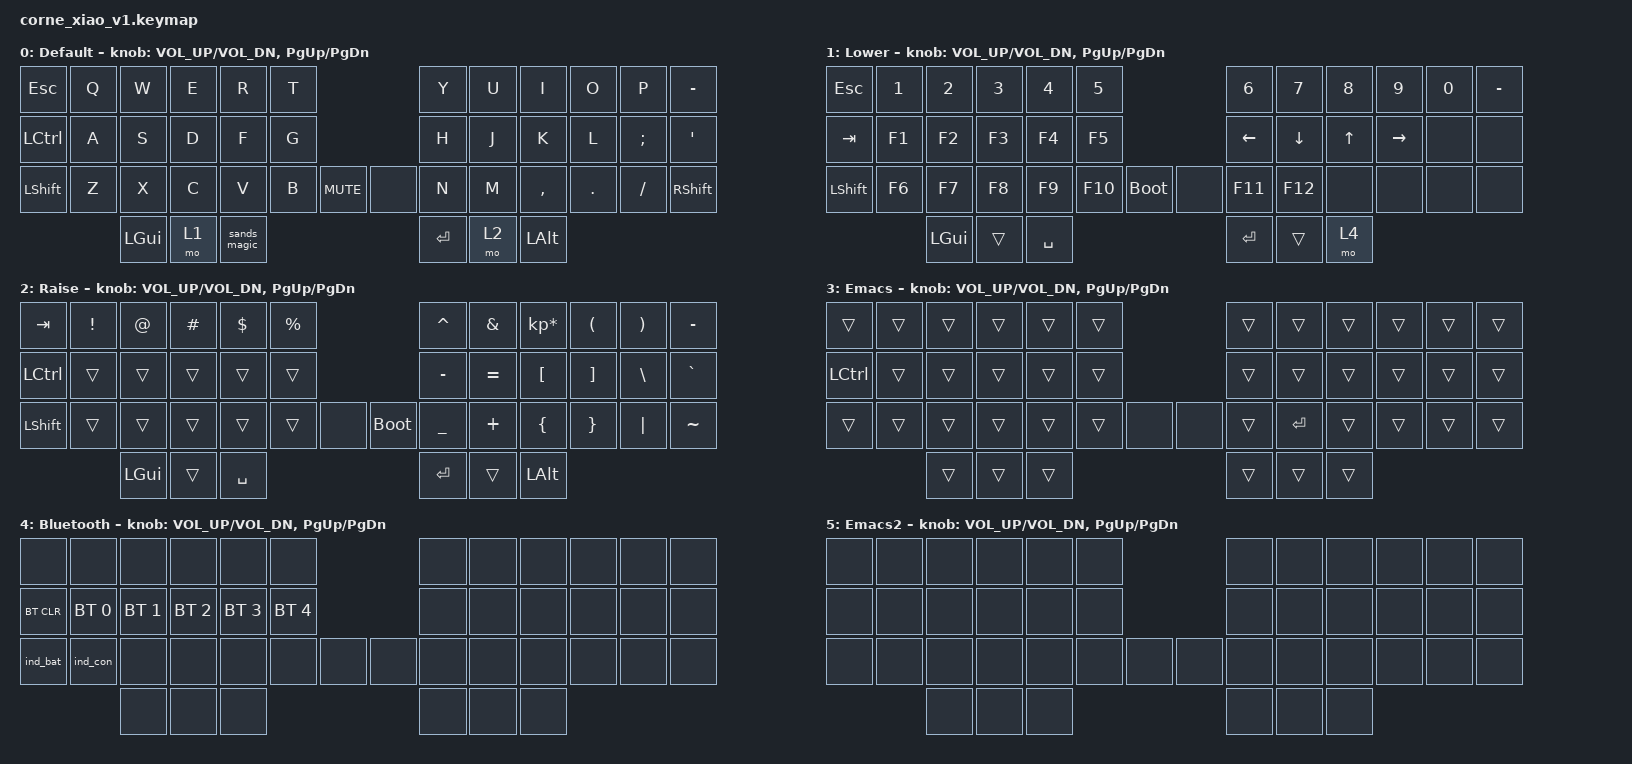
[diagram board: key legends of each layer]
#include <behaviors.dtsi>
#include <dt-bindings/zmk/keys.h>
#include <dt-bindings/zmk/bt.h>
#include <behaviors/rgbled_widget.dtsi>

/ {
    combos {
        compatible = "zmk,combos";
        combo_studio_unlock {
            timeout-ms = <50>;
            key-positions = <0 1>;
            bindings = <&studio_unlock>;
        };
    };
};

/ {
  behaviors {
    tap_dance_space: tap_dance_space {
      compatible = "zmk,behavior-tap-dance";
      #binding-cells = <0>;
      bindings = <&kp SPACE>, <&kp SPACE>;
      tapping-term-ms = <200>;
    };
  };

  sands_magic: sands_magic {
    compatible = "zmk,behavior-hold-tap";
    label = "SandS with Tap Dance";
    #binding-cells = <0>;
    flavor = "balanced";
    tapping-term-ms = <200>;
    bindings = <&kp LSHIFT &tap_dance_space>;
  };
};

/ {
        keymap {
                compatible = "zmk,keymap";

                default_layer {
                        display-name = "Default";
// -------------------------------------------------------------------------------------------------
// |  ESC |  Q  |  W  |  E  |  R  |  T  |                    |  Y  |  U   |  I  |  O  |  P  |  -   |
// | CTRL |  A  |  S  |  D  |  F  |  G  |                    |  H  |  J   |  K  |  L  |  ;  |  '   |
// | SHFT |  Z  |  X  |  C  |  V  |  B  |  MUTE  |  |        |  N  |  M   |  ,  |  .  |  /  | SHFT |
//                    | GUI | LWR | SPC |                    | ENT | RSE  | ALT |
                        bindings = <
   &kp ESC   &kp Q &kp W &kp E &kp R &kp T                   &kp Y &kp U  &kp I     &kp O   &kp P    &kp MINUS
   &kp LCTRL &kp A &kp S &kp D &kp F &kp G                   &kp H &kp J  &kp K     &kp L   &kp SEMI &kp SQT
   &kp LSHFT &kp Z &kp X &kp C &kp V &kp B &kp C_MUTE  &none &kp N &kp M  &kp COMMA &kp DOT &kp FSLH &kp RSHFT
                  &kp LGUI &mo 1 &sands_magic                &kp RET &mo 2 &kp LALT
                        >;

                        sensor-bindings = <&inc_dec_kp C_VOL_UP C_VOL_DN &inc_dec_kp PG_UP PG_DN>;
                };

                lower_layer {
                        display-name = "Lower";
// ------------------------------------------------------------------------------------------------
// |  ESC |  1  |  2  |  3  |  4  |  5  |                    |  6  |  7  |  8  |  9  |  0  |  -  |
// |  TAB | F1  | F2  | F3  | F4  | F5  |                    | LFT | DWN |  UP | RGT |     |     |
// | SHFT | F6  | F7  | F8  | F9  | F10 |  boot  |  |        | F11 | F12 |     |     |     |     |
//                    | GUI |     | SPC |                    | ENT |     | ALT |
                        bindings = <
   &kp ESC   &kp N1 &kp N2 &kp N3 &kp N4 &kp N5                     &kp N6   &kp N7   &kp N8 &kp N9    &kp N0 &kp MINUS
   &kp TAB   &kp F1 &kp F2 &kp F3 &kp F4 &kp F5                     &kp LEFT &kp DOWN &kp UP &kp RIGHT &none &none
   &kp LSHFT &kp F6 &kp F7 &kp F8 &kp F9 &kp F10 &bootloader  &none &kp F11  &kp F12  &none  &none     &none  &none
                      &kp LGUI &trans &kp SPACE                     &kp RET  &trans   &mo 4
                        >;

                        sensor-bindings = <&inc_dec_kp C_VOL_UP C_VOL_DN &inc_dec_kp PG_UP PG_DN>;
                };

                raise_layer {
                        display-name = "Raise";
// ------------------------------------------------------------------------------------------------
// |  TAB |  !  |  @  |  #  |  $  |  %  |                    |  ^  |  &  |  *  |  (  |  )  |  -   |
// | CTRL |     |     |     |     |     |                    |  -  |  =  |  [  |  ]  |  \  |  `   |
// | SHFT |     |     |     |     |     |        |  |  boot  |  _  |  +  |  {  |  }  | "|" |  ~   |
//                    | GUI |     | SPC |                    | ENT |     | ALT |
                        bindings = <
   &kp  TAB  &kp EXCL &kp AT &kp HASH &kp DLLR &kp PRCNT                    &kp CARET &kp AMPS  &kp KP_MULTIPLY &kp LPAR &kp RPAR &kp MINUS
   &kp LCTRL &trans   &trans &trans   &trans   &trans                       &kp MINUS &kp EQUAL &kp LBKT        &kp RBKT &kp BSLH &kp GRAVE
   &kp LSHFT &trans   &trans &trans   &trans   &trans    &none  &bootloader &kp UNDER &kp PLUS  &kp LBRC        &kp RBRC &kp PIPE &kp TILDE
                             &kp LGUI &trans   &kp SPACE                    &kp RET   &trans    &kp LALT
                        >;

                        sensor-bindings = <&inc_dec_kp C_VOL_UP C_VOL_DN &inc_dec_kp PG_UP PG_DN>;
                };

                emacs_layer {
                        display-name = "Emacs";
// -----------------------------------------------------------------------------------------------
// |      |     |     |     |     |     |                    |     |     |     |     |     |     |
// | CTRL |     |     |     |     |     |                    |     |     |     |     |     |     |
// |      |     |     |     |     |     |        |  |        |     | ENT |     |     |     |     |
//                    |     |     |     |                    |     |     |     |
                    bindings = <
   &trans    &trans &trans &trans &trans &trans              &trans &trans &trans &trans &trans &trans
   &kp LCTRL &trans &trans &trans &trans &trans              &trans &trans &trans &trans &trans &trans
   &trans    &trans &trans &trans &trans &trans &none  &none &trans &kp RET &trans &trans &trans &trans
                           &trans &trans &trans              &trans &trans &trans
                        >;

                        sensor-bindings = <&inc_dec_kp C_VOL_UP C_VOL_DN &inc_dec_kp PG_UP PG_DN>;
                };

                bluetooth_layer {
                        display-name = "Bluetooth";
// https://github.com/caksoylar/zmk-rgbled-widget?tab=readme-ov-file add battery widget keymap                        
// -----------------------------------------------------------------------------------------------
// |      |     |     |     |     |     |                    |     |     |     |     |     |     |
// | BTCLR| BT1 | BT2 | BT3 | BT4 | BT5 |                    |     |     |     |     |     |     |
// | BATLV|CONST|     |     |     |     |        |  |        |     |     |     |     |     |     |
//                    |     |     |     |                    |     |     |     |
                    bindings = <
   &none &none &none &none &none &none                                           &none &none &none &none &none &none
   &bt BT_CLR &bt BT_SEL 0 &bt BT_SEL 1 &bt BT_SEL 2 &bt BT_SEL 3 &bt BT_SEL 4   &none &none &none &none &none &none
   &ind_bat &ind_con &none &none &none &none &none                               &none &none &none &none &none &none &none
                     &none &none &none                                           &none &none &none
                        >;

                        sensor-bindings = <&inc_dec_kp C_VOL_UP C_VOL_DN &inc_dec_kp PG_UP PG_DN>;
                };

                emacs2_layer {
                        display-name = "Emacs2";
// -----------------------------------------------------------------------------------------------
// |      |     |     |     |     |     |                    |     |     |     |     |     |     |
// |      |     |     |     |     |     |                    |     |     |     |     |     |     |
// |      |     |     |     |     |     |                    |     |     |     |     |     |     |
//                    |     |     |     |                    |     |     |     |
                    bindings = <
   &none &none &none &none &none &none                 &none &none &none &none &none &none
   &none &none &none &none &none &none                 &none &none &none &none &none &none
   &none &none &none &none &none &none &none     &none &none &none &none &none &none &none
                     &none &none &none                 &none &none &none
                        >;

                        sensor-bindings = <&inc_dec_kp C_VOL_UP C_VOL_DN &inc_dec_kp PG_UP PG_DN>;
                };
        };
};

